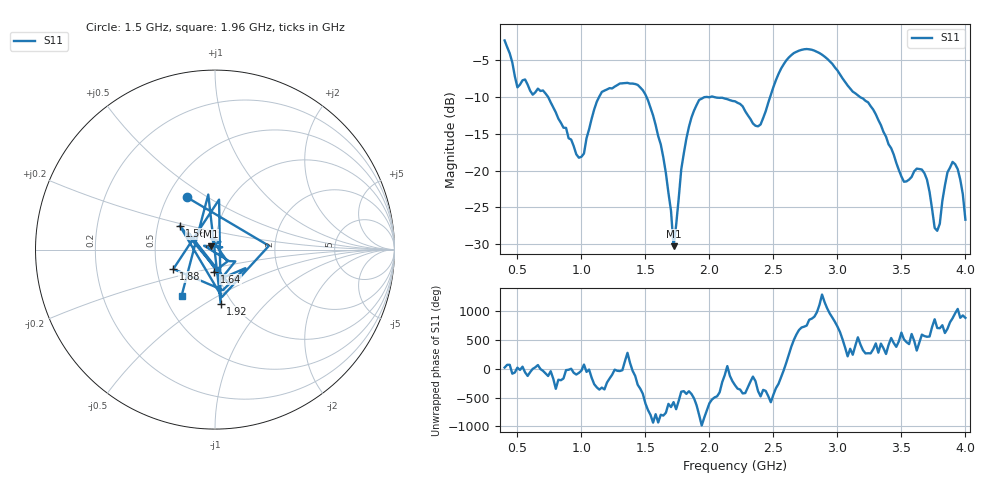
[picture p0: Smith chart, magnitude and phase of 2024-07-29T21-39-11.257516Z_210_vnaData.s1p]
!Created with skrf (http://scikit-rf.org).
# Hz S RI R 50.0
!freq ReS11 ImS11
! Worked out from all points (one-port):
!   181 points, 400 MHz to 4 GHz, reference 50 ohm
!   lowest |S11| = -30.3 dB at 1.72 GHz (marker M1), VSWR 1.06, Z = 47.7 + j1.85 ohm
!   |S11| at or under -10 dB: 1.509 GHz to 1.963 GHz (453.4 MHz wide, 26.1 % of centre); 2.04 GHz to 2.474 GHz (434.5 MHz wide, 19.3 % of centre); 3.178 GHz to end of sweep (the widest 3 of 5)
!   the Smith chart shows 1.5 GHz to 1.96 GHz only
!   S11 on the Smith chart (normalised r, x): 1.5 GHz: 0.63, +0.41; 1.56 GHz: 0.65, +0.18; 1.64 GHz: 0.96, -0.24; 1.88 GHz: 0.61, -0.14; 1.92 GHz: 0.88, -0.59; 1.96 GHz: 0.61, -0.35
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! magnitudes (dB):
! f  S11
! 400 MHz  -2.3
! 500 MHz  -8.7
! 700 MHz  -9.1
! 860 MHz  -14.2
! 1 GHz  -18.1
! 1.14 GHz  -9.9
! 1.3 GHz  -8.1
! 1.5 GHz  -9.6
! 1.56 GHz  -12.5
! 1.64 GHz  -18.2
! 1.72 GHz  -30.3
! 1.76 GHz  -23.8
! 1.82 GHz  -15.7
! 1.88 GHz  -11.8
! 1.92 GHz  -10.4
! 1.96 GHz  -10.0
! 2.2 GHz  -10.6
! 2.4 GHz  -13.7
! 2.66 GHz  -4.0
! 2.86 GHz  -4.0
! 3.1 GHz  -8.8
! 3.28 GHz  -11.7
! 3.56 GHz  -21.2
! 3.68 GHz  -20.4
! 3.78 GHz  -28.2
! 3.9 GHz  -18.8
! 3.96 GHz  -21.2
! 4 GHz  -26.7
